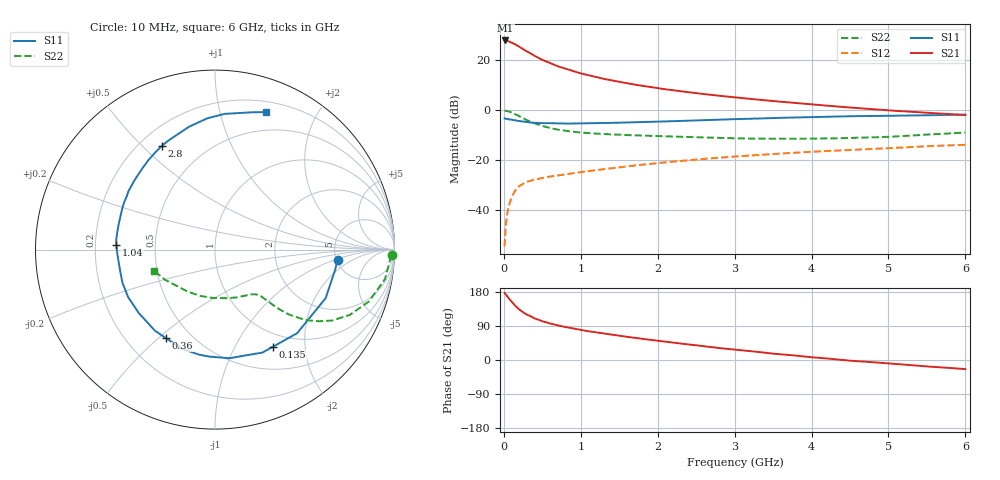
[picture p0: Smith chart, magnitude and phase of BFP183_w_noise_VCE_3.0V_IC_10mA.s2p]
! Infineon Technologies  Discrete & RF Semiconductors
! BFP183
! VCE = 3.0 V,  IC =  10 mA
! Common Emitter S-Parameters:  Jan 2016
# GHz  S  MA  R  50
!  f  S11  S21  S12  S22
! GHz  MAG  ANG  MAG  ANG  MAG  ANG  MAG  ANG
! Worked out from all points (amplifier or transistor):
!   210 points, 10 MHz to 6 GHz, reference 50 ohm
!   highest |S21| = 27.9 dB at 20 MHz (marker M1)
!   |S21| within 3 dB of that: start of sweep to 225.4 MHz
!   unconditionally stable (mu >= 1): 1.172 GHz to 5.608 GHz
!   at 185 MHz: K = 0.25, MSG = 28.3 dB, |S12| = -30.9 dB
!   at 1.52 GHz: K = 1.10, MAG = 15.1 dB, |S12| = -22.8 dB
!   at 6 GHz: K = 0.94, MSG = 6.0 dB, |S12| = -13.8 dB
!   lowest NFmin = 1.30 dB at 450 MHz
!   S11 on the Smith chart (normalised r, x): 10 MHz: 5.12, -1.09; 135 MHz: 0.80, -1.44; 360 MHz: 0.37, -0.53; 1.04 GHz: 0.29, +0.02; 2.8 GHz: 0.29, +0.57; 6 GHz: 0.30, +1.39
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0.01  0.6855 -4.7  24.89 177.2  0.0019 81.7  0.9847 -1.9
0.02  0.6786 -9.6  24.94 174.8  0.0038 85.6  0.975 -3.9
0.05  0.6733 -23.7  24.41 166.2  0.0097 81.0  0.9614 -9.8
0.095  0.6506 -43.3  22.8 155.1  0.017 70.5  0.9096 -17.7
0.135  0.6301 -59.2  21.25 146.2  0.0228 63.1  0.8538 -23.6
0.15  0.6317 -65.2  20.77 142.6  0.025 61.0  0.834 -25.9
0.2  0.6105 -82.4  18.72 133.4  0.0302 56.3  0.761 -31.3
0.28  0.5852 -103.4  15.7 122.2  0.0357 49.2  0.6571 -36.9
0.36  0.5638 -119.0  13.33 114.2  0.0394 45.9  0.5797 -40.0
0.4  0.5626 -126.4  12.25 109.7  0.041 44.6  0.5445 -41.4
0.5  0.5525 -140.3  10.2 102.3  0.0442 42.3  0.484 -43.0
0.6  0.5518 -151.4  8.798 96.4  0.0471 41.3  0.4405 -43.8
0.8  0.5417 -167.8  6.776 86.9  0.0521 41.5  0.3878 -44.7
1.02  0.5486 178.4  5.377 78.7  0.058 42.2  0.3565 -45.9
1.04  0.5494 177.3  5.286 78.1  0.0586 42.2  0.3544 -46.0
1.5  0.5636 157.1  3.7 63.9  0.0718 43.6  0.3227 -50.4
2.02  0.5928 138.7  2.731 50.3  0.0883 42.8  0.3038 -58.3
2.8  0.6501 117.1  1.949 31.5  0.1122 39.3  0.2808 -74.8
3.1  0.6684 110.1  1.75 25.5  0.1211 37.6  0.2725 -82.4
4.1  0.7367 91.9  1.272 5.7  0.1499 30.8  0.271 -111.2
5.1  0.7777 78.5  0.971 -10.5  0.1764 24.5  0.299 -139.2
6  0.8164 69.8  0.801 -24.0  0.2034 16.7  0.3584 -160.5
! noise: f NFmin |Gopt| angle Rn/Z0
0.45  1.3  0.15  45  0.18
0.9  1.4  0.2  125  0.19
1.8  2.1  0.34  -170  0.14
